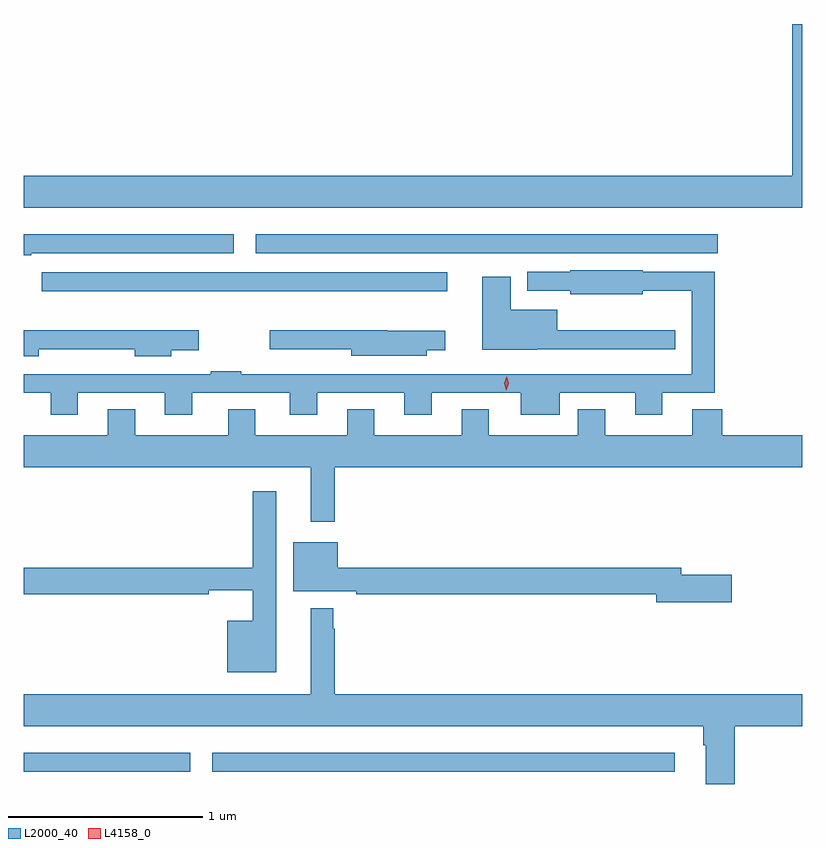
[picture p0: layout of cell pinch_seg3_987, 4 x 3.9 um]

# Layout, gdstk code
import gdstk
lib = gdstk.Library(unit=1e-6, precision=1e-09)
def R(c, l, rs):  # rectangles x0, y0, x1, y1
    for r in rs: c.add(gdstk.rectangle(r[:2], r[2:], *l))
def P(c, l, *ps):  # polygons
    for p in ps: c.add(gdstk.Polygon(p, *l))
L2000_40 = (2000, 40)
L4158_0 = (4158, 0)

pinch_seg3_987 = lib.new_cell('pinch_seg3_987')
R(pinch_seg3_987, L2000_40, [(412.289,682.035,413.146,682.132), (413.259,682.035,415.633,682.132), (412.383,684.503,414.466,684.6), (413.481,684.699,415.855,684.796)])
P(pinch_seg3_987, L2000_40, [(416.289,685.876),(416.237,685.876),(416.237,685.096),(412.289,685.096),(412.289,684.932),(416.289,684.932)],
  [(412.327,684.699),(413.368,684.699),(413.368,684.796),(412.289,684.796),(412.289,684.687),(412.327,684.687)],
  [(412.567,683.982),(413.015,683.982),(413.015,683.87),(413.155,683.87),(413.155,683.982),(413.657,683.982),(413.657,683.87),(413.797,683.87),(413.797,683.982),(414.245,683.982),(414.245,683.87),(414.385,683.87),(414.385,683.982),(414.842,683.982),(414.842,683.87),(415.042,683.87),(415.042,683.982),(415.43,683.982),(415.43,683.87),(415.57,683.87),(415.57,683.982),(415.838,683.982),(415.838,684.603),(415.47,684.603),(415.47,684.61),(415.098,684.61),(415.098,684.603),(414.875,684.603),(414.875,684.507),(415.098,684.507),(415.098,684.488),(415.47,684.488),(415.47,684.506),(415.722,684.506),(415.722,684.078),(413.406,684.078),(413.406,684.091),(413.251,684.091),(413.251,684.078),(412.289,684.078),(412.289,683.982),(412.427,683.982),(412.427,683.87),(412.567,683.87)],
  [(414.926,684.204),(415.526,684.204),(415.526,684.205),(415.637,684.205),(415.637,684.302),(415.03,684.302),(415.03,684.409),(414.79,684.409),(414.79,684.577),(414.644,684.577),(414.644,684.203),(414.926,684.203)],
  [(412.366,684.204),(412.859,684.204),(412.859,684.17),(413.047,684.17),(413.047,684.2),(413.188,684.2),(413.188,684.302),(412.289,684.302),(412.289,684.17),(412.366,684.17)],
  [(414.36,684.2),(414.454,684.2),(414.454,684.301),(414.156,684.301),(414.156,684.302),(413.553,684.302),(413.553,684.204),(413.972,684.204),(413.972,684.173),(414.36,684.173)],
  [(413.887,683.6),(416.289,683.6),(416.289,683.764),(415.877,683.764),(415.877,683.897),(415.724,683.897),(415.724,683.764),(415.276,683.764),(415.276,683.897),(415.136,683.897),(415.136,683.764),(414.679,683.764),(414.679,683.897),(414.539,683.897),(414.539,683.764),(414.091,683.764),(414.091,683.897),(413.951,683.897),(413.951,683.764),(413.479,683.764),(413.479,683.897),(413.339,683.897),(413.339,683.764),(412.861,683.764),(412.861,683.897),(412.721,683.897),(412.721,683.764),(412.289,683.764),(412.289,683.6),(413.765,683.6),(413.765,683.319),(413.887,683.319)],
  [(413.587,683.476),(413.466,683.476),(413.466,683.084),(412.289,683.084),(412.289,682.948),(413.24,682.948),(413.24,682.967),(413.466,682.967),(413.466,682.81),(413.336,682.81),(413.336,682.547),(413.587,682.547)],
  [(415.927,683.048),(415.666,683.048),(415.666,683.084),(413.902,683.084),(413.902,683.215),(413.675,683.215),(413.675,682.961),(413.998,682.961),(413.998,682.948),(415.538,682.948),(415.538,682.906),(415.927,682.906)],
  [(415.941,682.268),(416.289,682.268),(416.289,682.432),(413.887,682.432),(413.887,682.769),(413.88,682.769),(413.88,682.876),(413.765,682.876),(413.765,682.432),(412.289,682.432),(412.289,682.268),(415.781,682.268),(415.781,682.172),(415.793,682.172),(415.793,681.972),(415.941,681.972)])
P(pinch_seg3_987, L4158_0, [(414.768,683.995),(414.768,683.995),(414.759,684.03),(414.771,684.065),(414.771,684.066),(414.771,684.065),(414.78,684.03),(414.768,683.995)])

lib.write_gds('pinch_seg3_987.gds')
